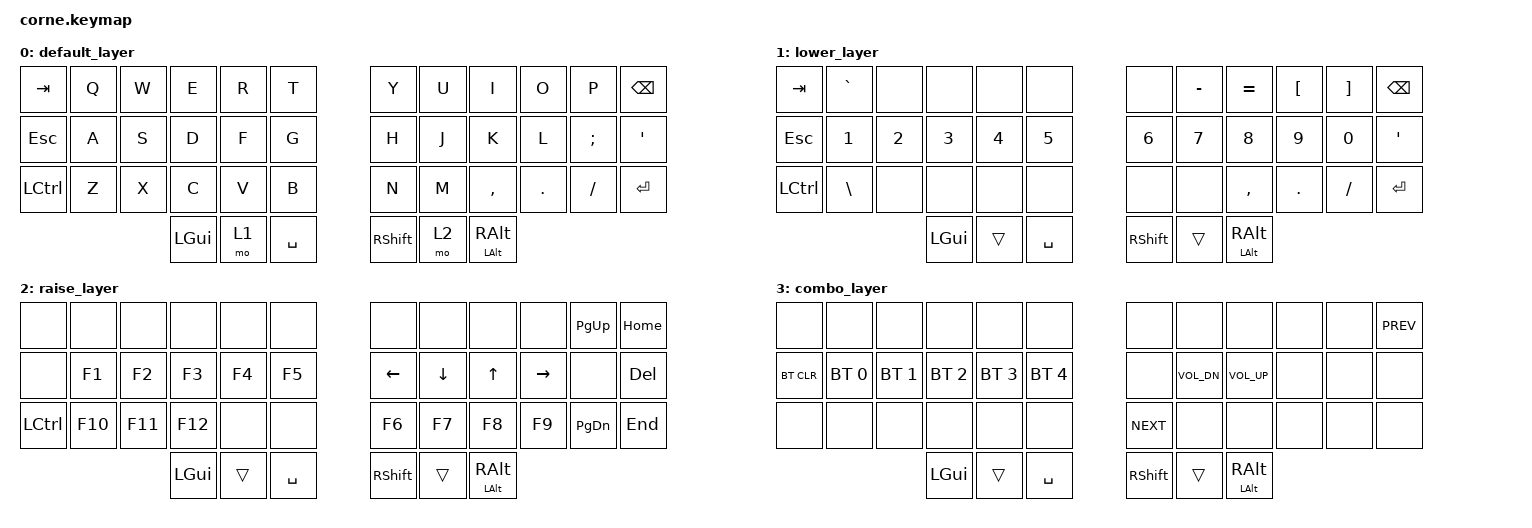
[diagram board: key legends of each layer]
/*
 * Copyright (c) 2020 The ZMK Contributors
 *
 * SPDX-License-Identifier: MIT
 */

#include <behaviors.dtsi>
#include <dt-bindings/zmk/keys.h>
#include <dt-bindings/zmk/bt.h>

/ {
        conditional_layers {
            compatible = "zmk,conditional-layers";
            tri_layer {
                if-layers = <1 2>;
                then-layer = <3>;
            };
        };

        keymap {
                compatible = "zmk,keymap";

                default_layer {
// -----------------------------------------------------------------------------------------
// |  TAB |  Q  |  W  |  E  |  R  |  T  |   |  Y  |  U   |  I  |  O  |  P  | BSPC |
// |  ESC |  A  |  S  |  D  |  F  |  G  |   |  H  |  J   |  K  |  L  |  ;  |  '   |
// | CTRL |  Z  |  X  |  C  |  V  |  B  |   |  N  |  M   |  ,  |  .  |  /  | ENTER|
//                    | GUI | LWR | SPC |   |SHIFT| RSE  | ALT |
                        bindings = <
   &kp TAB   &kp Q &kp W &kp E &kp R &kp T   &kp Y &kp U  &kp I     &kp O   &kp P    &kp BSPC
   &kp ESC   &kp A &kp S &kp D &kp F &kp G   &kp H &kp J  &kp K     &kp L   &kp SEMI &kp SQT
   &kp LCTRL &kp Z &kp X &kp C &kp V &kp B   &kp N &kp M  &kp COMMA &kp DOT &kp FSLH &kp ENTER 
                  &kp LGUI &mo 1 &kp SPACE   &kp RSHIFT &mo 2 &mt LALT RALT
                        >;
                };

                lower_layer {
// -----------------------------------------------------------------------------------------
// |  TAB | `/~ |     |     |     |     |   |     | -/_ | +/= | {/[ | }/] | BSPC |
// |  ESC | 1/! | 2/@ | 3/# | 4/$ | 5/% |   | 6/^ | 7/& | 8/* | 9/( | 0/) |  '   |
// | CTRL | \/| |     |     |     |     |   |     |     |  ,  |  .  |  /  | ENTER|
//                    | GUI |     | SPC |   |SHIFT|     | ALT |
                        bindings = <
   &kp TAB   &kp GRAVE &none  &none  &none  &none    &none  &kp MINUS &kp EQUAL &kp LBKT &kp RBKT &kp BSPC
   &kp ESC   &kp N1    &kp N2 &kp N3 &kp N4 &kp N5   &kp N6 &kp N7    &kp N8    &kp N9   &kp N0   &kp SQT
   &kp LCTRL &kp BSLH  &none  &none  &none  &none    &none  &none     &kp COMMA &kp DOT  &kp FSLH &kp ENTER
                        &kp LGUI &trans &kp SPACE    &kp RSHIFT &trans &mt LALT RALT
                        >;
                };

                raise_layer {
// -----------------------------------------------------------------------------------------
// |      |     |     |     |     |     |   |     |     |     |     | PGUP| HOME |
// |      | F1  | F2  | F3  | F4  | F5  |   | ARRL| ARRD| ARRU| ARRR|     | DEL  |
// | CTRL | F10 | F11 | F12 |     |     |   | F6  | F7  | F8  | F9  | PGDN| END  |
//                    | GUI |     | SPC |   |SHIFT|     | ALT |
                        bindings = <
   &none     &none   &none   &none   &none  &none    &none    &none    &none  &none     &kp PG_UP &kp HOME
   &none     &kp F1  &kp F2  &kp F3  &kp F4 &kp F5   &kp LEFT &kp DOWN &kp UP &kp RIGHT &none     &kp DEL
   &kp LCTRL &kp F10 &kp F11 &kp F12 &none  &none    &kp F6   &kp F7   &kp F8 &kp F9    &kp PG_DN &kp END
                 &kp LGUI &trans &kp SPACE        &kp RSHIFT &trans &mt LALT RALT
                        >;
                };

                combo_layer {
// -----------------------------------------------------------------------------------------
// |      |     |     |     |     |     |   |     |     |     |     |     | PREV |
// |BT CLR| BT0 | BT1 | BT2 | BT3 | BT4 |   |     | VOL-| VOL+|     |     |      |
// |      |     |     |     |     |     |   | NEXT|     |     |     |     |      |
//                    | GUI |     | SPC |   |SHIFT|     | ALT |
                        bindings = <
   &none      &none        &none        &none        &none        &none          &none &none        &none          &none &none &kp C_PREV
   &bt BT_CLR &bt BT_SEL 0 &bt BT_SEL 1 &bt BT_SEL 2 &bt BT_SEL 3 &bt BT_SEL 4   &none &kp C_VOL_DN &kp C_VOL_UP   &none &none &none
   &none      &none        &none        &none        &none        &none          &kp C_NEXT &none   &none          &none &none &none
                                                    &kp LGUI &trans &kp SPACE    &kp RSHIFT &trans &mt LALT RALT
                        >;
                };
        };
};
